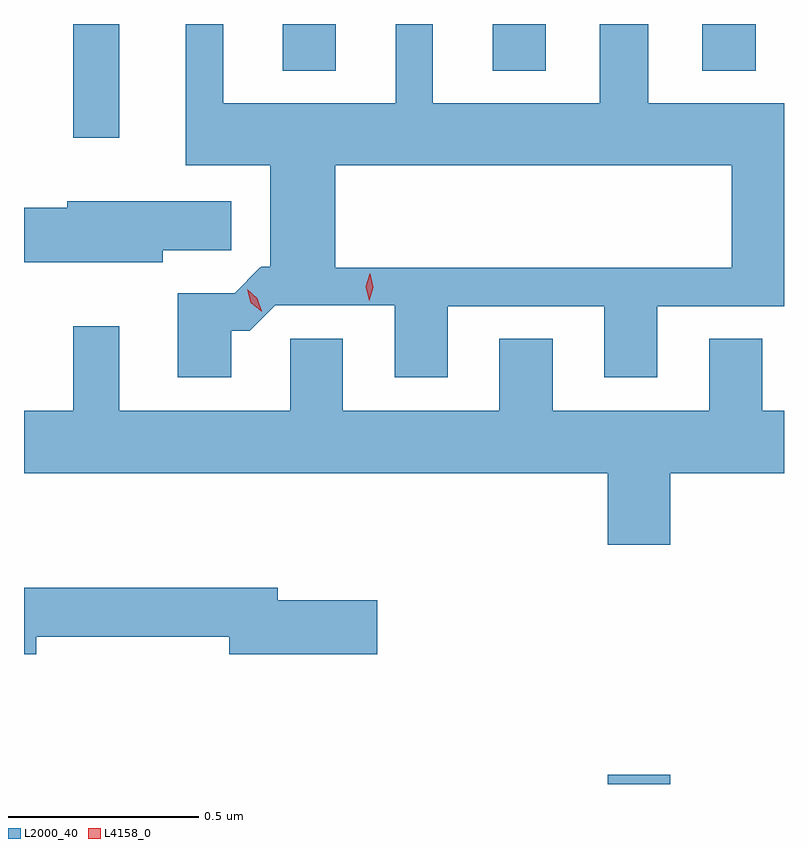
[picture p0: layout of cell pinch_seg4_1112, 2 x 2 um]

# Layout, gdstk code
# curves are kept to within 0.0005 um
import gdstk
lib = gdstk.Library(unit=1e-6, precision=1e-09)
def R(c, l, rs):  # rectangles x0, y0, x1, y1
    for r in rs: c.add(gdstk.rectangle(r[:2], r[2:], *l))
def A(c, l, x, y, w, h, nx, ny, dx, dy):  # array of equal rectangles
    R(c, l, [(x+i*dx, y+j*dy, x+i*dx+w, y+j*dy+h) for i in range(nx) for j in range(ny)])
def P(c, l, *ps):  # polygons
    for p in ps: c.add(gdstk.Polygon(p, *l))
L2000_40 = (2000, 40)
L4158_0 = (4158, 0)

pinch_seg4_1112 = lib.new_cell('pinch_seg4_1112')
A(pinch_seg4_1112, L2000_40, 547.769, 801.875, 0.14, 0.123, 3, 1, 0.552, 0)
R(pinch_seg4_1112, L2000_40, [(548.624,799.998,548.788,800.023), (547.218,801.699,547.339,801.998)])
P(pinch_seg4_1112, L2000_40, [(547.493,801.289),(547.493,801.069),(547.633,801.069),(547.633,801.191),(547.682,801.191),(547.749,801.258),(548.063,801.258),(548.063,801.069),(548.203,801.069),(548.203,801.255),(548.615,801.255),(548.615,801.069),(548.755,801.069),(548.755,801.255),(549.088,801.255),(549.088,801.79),(548.731,801.79),(548.731,801.998),(548.603,801.998),(548.603,801.79),(548.164,801.79),(548.164,801.998),(548.066,801.998),(548.066,801.79),(547.612,801.79),(547.612,801.998),(547.514,801.998),(547.514,801.626),(547.736,801.626),(547.736,801.359),(547.712,801.359),(547.709,801.356),(547.907,801.356),(547.907,801.626),(548.951,801.626),(548.951,801.356),(547.709,801.356),(547.642,801.289)],
  [(547.453,801.403),(547.633,801.403),(547.633,801.532),(547.202,801.532),(547.202,801.515),(547.088,801.515),(547.088,801.371),(547.453,801.371)],
  [(548.788,800.816),(549.088,800.816),(549.088,800.98),(549.031,800.98),(549.031,801.17),(548.891,801.17),(548.891,800.98),(548.479,800.98),(548.479,801.17),(548.339,801.17),(548.339,800.98),(547.927,800.98),(547.927,801.17),(547.788,801.17),(547.788,800.98),(547.339,800.98),(547.339,801.202),(547.218,801.202),(547.218,800.98),(547.088,800.98),(547.088,800.816),(548.624,800.816),(548.624,800.628),(548.788,800.628)],
  [(547.12,800.386),(547.628,800.386),(547.628,800.339),(548.017,800.339),(548.017,800.481),(547.756,800.481),(547.756,800.515),(547.088,800.515),(547.088,800.339),(547.12,800.339)])
P(pinch_seg4_1112, L4158_0, [(547.996,801.27),(547.996,801.27),(547.987,801.306),(547.998,801.341),(547.999,801.341),(547.999,801.341),(548.007,801.305),(547.996,801.27)],
  [(547.712,801.242),(547.685,801.265),(547.675,801.3),(547.675,801.3),(547.675,801.3),(547.702,801.276),(547.713,801.242),(547.713,801.242)])

lib.write_gds('pinch_seg4_1112.gds')
